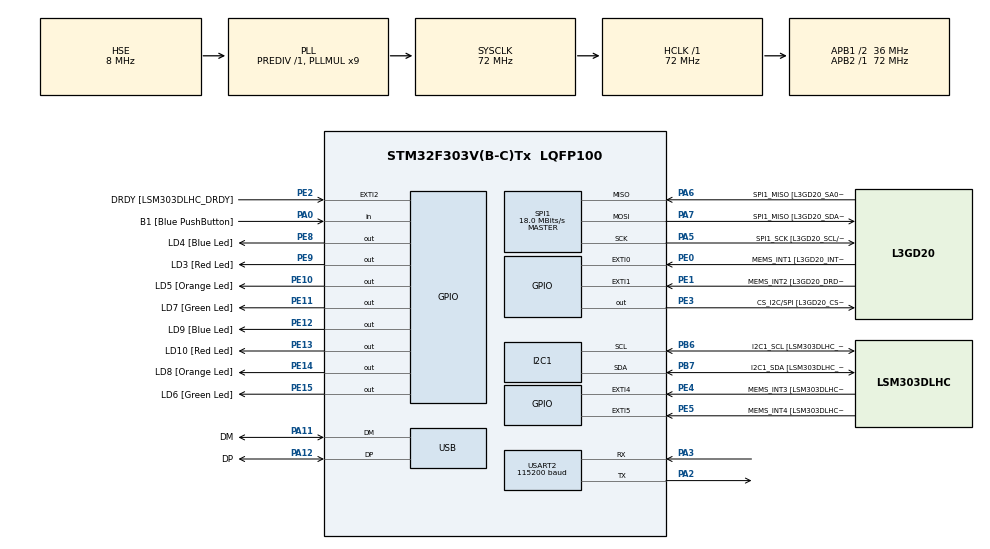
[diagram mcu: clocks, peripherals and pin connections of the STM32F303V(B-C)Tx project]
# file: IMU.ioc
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I2C1.Timing=0x00201D2B
I2C1.Timing-I2C=0x2000090E
Mcu.Family=STM32F3
Mcu.Name=STM32F303V(B-C)Tx
Mcu.Package=LQFP100
NVIC.PriorityGroup=NVIC_PRIORITYGROUP_0
NVIC.TIM1_UP_TIM16_IRQn=true\:0\:0\:false\:false\:true\:true\:true\:true
NVIC.USART2_IRQn=true\:0\:0\:false\:false\:true\:true\:true\:true
PA0.GPIO_Label=B1 [Blue PushButton]
PA0.Signal=GPIO_Input
PA11.GPIO_Label=DM
PA11.Mode=Device
PA11.Signal=USB_DM
PA12.GPIO_Label=DP
PA12.Mode=Device
PA12.Signal=USB_DP
PA13.GPIO_Label=SWDIO
PA13.Mode=Serial_Wire
PA13.Signal=SYS_JTMS-SWDIO
PA14.GPIO_Label=SWCLK
PA14.Mode=Serial_Wire
PA14.Signal=SYS_JTCK-SWCLK
PA2.Mode=Asynchronous
PA2.Signal=USART2_TX
PA3.Mode=Asynchronous
PA3.Signal=USART2_RX
PA5.GPIO_Label=SPI1_SCK [L3GD20_SCL/SPC]
PA5.Mode=Full_Duplex_Master
PA5.Signal=SPI1_SCK
PA6.GPIO_Label=SPI1_MISO [L3GD20_SA0/SDO]
PA6.Mode=Full_Duplex_Master
PA6.Signal=SPI1_MISO
PA7.GPIO_Label=SPI1_MISO [L3GD20_SDA/SDI/SDO]
PA7.Mode=Full_Duplex_Master
PA7.Signal=SPI1_MOSI
PB3.GPIO_Label=SWO
PB3.Signal=SYS_JTDO-TRACESWO
PB6.GPIO_Label=I2C1_SCL [LSM303DLHC_SCL]
PB6.GPIO_Pu=GPIO_PULLUP
PB6.Mode=I2C
PB6.Signal=I2C1_SCL
PB7.GPIO_Label=I2C1_SDA [LSM303DLHC_SDA]
PB7.GPIO_Pu=GPIO_PULLUP
PB7.Mode=I2C
PB7.Signal=I2C1_SDA
PC14-OSC32_IN.GPIO_Label=OSC32_IN
PC14-OSC32_IN.Signal=RCC_OSC32_IN
PC15-OSC32_OUT.GPIO_Label=OSC32_OUT
PC15-OSC32_OUT.Signal=RCC_OSC32_OUT
PE0.GPIO_Label=MEMS_INT1 [L3GD20_INT1]
PE0.GPIO_ModeDefaultEXTI=GPIO_MODE_EVT_RISING
PE0.Signal=GPXTI0
PE1.GPIO_Label=MEMS_INT2 [L3GD20_DRDY/INT2]
PE1.GPIO_ModeDefaultEXTI=GPIO_MODE_EVT_RISING
PE1.Signal=GPXTI1
PE10.GPIO_Label=LD5 [Orange Led]
PE10.Signal=GPIO_Output
PE11.GPIO_Label=LD7 [Green Led]
PE11.Signal=GPIO_Output
PE12.GPIO_Label=LD9 [Blue Led]
PE12.Signal=GPIO_Output
PE13.GPIO_Label=LD10 [Red Led]
PE13.Signal=GPIO_Output
PE14.GPIO_Label=LD8 [Orange Led]
PE14.Signal=GPIO_Output
PE15.GPIO_Label=LD6 [Green Led]
PE15.Signal=GPIO_Output
PE2.GPIO_Label=DRDY [LSM303DLHC_DRDY]
PE2.GPIO_ModeDefaultEXTI=GPIO_MODE_EVT_RISING
PE2.Signal=GPXTI2
PE3.GPIO_Label=CS_I2C/SPI [L3GD20_CS_I2C/SPI]
PE3.Signal=GPIO_Output
PE4.GPIO_Label=MEMS_INT3 [LSM303DLHC_INT1]
PE4.GPIO_ModeDefaultEXTI=GPIO_MODE_EVT_RISING
PE4.Signal=GPXTI4
PE5.GPIO_Label=MEMS_INT4 [LSM303DLHC_INT2]
PE5.GPIO_ModeDefaultEXTI=GPIO_MODE_EVT_RISING
PE5.Signal=GPXTI5
PE8.GPIO_Label=LD4 [Blue Led]
PE8.Signal=GPIO_Output
PE9.GPIO_Label=LD3 [Red Led]
PE9.Signal=GPIO_Output
PF0-OSC_IN.GPIO_Label=OSC_IN
PF0-OSC_IN.Mode=HSE-External-Clock-Source
PF0-OSC_IN.Signal=RCC_OSC_IN
PF1-OSC_OUT.GPIO_Label=OSC_OUT
PF1-OSC_OUT.Signal=RCC_OSC_OUT
ProjectManager.HeapSize=0x200
ProjectManager.StackSize=0x400
ProjectManager.TargetToolchain=STM32CubeIDE
RCC.AHBFreq_Value=72000000
RCC.APB1CLKDivider=RCC_HCLK_DIV2
RCC.APB1Freq_Value=36000000
RCC.APB1TimFreq_Value=72000000
RCC.APB2Freq_Value=72000000
RCC.APB2TimFreq_Value=72000000
RCC.CortexFreq_Value=72000000
RCC.HCLKFreq_Value=72000000
RCC.HSE_VALUE=8000000
RCC.HSI_VALUE=8000000
RCC.LSE_VALUE=32768
RCC.PLLMUL=RCC_PLL_MUL9
RCC.PRESCALERUSB=RCC_USBCLKSOURCE_PLL_DIV1_5
RCC.SYSCLKFreq_VALUE=72000000
RCC.SYSCLKSourceVirtual=RCC_SYSCLKSOURCE_PLLCLK
RCC.USBFreq_Value=48000000
SPI1.BaudRatePrescaler=SPI_BAUDRATEPRESCALER_4
SPI1.BaudRatePrescaler-Full_Duplex_Master=SPI_BAUDRATEPRESCALER_2
SPI1.CalculateBaudRate=18.0 MBits/s
SPI1.CalculateBaudRate-Full_Duplex_Master=24.0 MBits/s
SPI1.Direction=SPI_DIRECTION_2LINES
SPI1.Mode=SPI_MODE_MASTER
SPI1.Mode-Full_Duplex_Master=SPI_MODE_MASTER
SPI1.VirtualType=VM_MASTER
TIM1.Period=100
TIM1.Prescaler=719
USART2.BaudRate=115200
USART2.VirtualMode-Asynchronous=VM_ASYNC
VP_TIM1_VS_ClockSourceINT.Mode=Internal
board=STM32F3DISCOVERY

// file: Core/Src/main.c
/* USER CODE BEGIN Header */
/**
  ******************************************************************************
  * @file           : main.c
  * @brief          : Main program body
  ******************************************************************************
  * @attention
  *
  * Copyright (c) 2025 STMicroelectronics.
  * All rights reserved.
  *
  * This software is licensed under terms that can be found in the LICENSE file
  * in the root directory of this software component.
  * If no LICENSE file comes with this software, it is provided AS-IS.
  *
  ******************************************************************************
  */
/* USER CODE END Header */
#include "main.h"
#include "i2c.h"
#include "spi.h"
#include "tim.h"
#include "usart.h"
#include "usb.h"
#include "gpio.h"

/* USER CODE BEGIN Includes */
#include <time.h>

#include "uart_utils.h"
#include "time_utils.h"
#include "accel.h"
#include "gyro.h"
#include "magdrv.h"
#include "madgwick.h"

/* USER CODE END Includes */

void SystemClock_Config(void);

int main(void)
{

  /* MCU Configuration--------------------------------------------------------*/

  /* Reset of all peripherals, Initializes the Flash interface and the Systick. */
  HAL_Init();

  /* USER CODE BEGIN Init */
#if DEBUG
    RCC->CFGR =0;
#endif
  /* USER CODE END Init */

  /* Configure the system clock */
  SystemClock_Config();

  /* Initialize all configured peripherals */
  MX_GPIO_Init();
  MX_I2C1_Init();
  MX_SPI1_Init();
  MX_USB_PCD_Init();
  MX_USART2_UART_Init();
  MX_TIM1_Init();
  /* USER CODE BEGIN 2 */
  IMUStamped data;
  data.sync = 0xFE;
  clear_RPY(&data.rpy);
  start_time();

  if (init_accel() != HAL_OK ||
      init_gyro() != HAL_OK ||
      init_mag() != HAL_OK){
      Error_Handler();
  }
  stamp_IMUData(&data);
  /* USER CODE END 2 */

  /* Infinite loop */
  /* USER CODE BEGIN WHILE */
  while (1)
  {
      read_accel_data(&(data.imu));
      read_gyro_data(&(data.imu));
      update_mag(&(data.imu));
      madgwick_filter_update(&data);
#ifdef TEST
      send_RPY(&data.rpy, &huart2);
#else // TEST
      send_IMUStamped(&data, &huart2);
#endif // TEST
      stamp_IMUData(&data);
    /* USER CODE END WHILE */

  }
}

void SystemClock_Config(void)
{
  RCC_OscInitTypeDef RCC_OscInitStruct = {0};
  RCC_ClkInitTypeDef RCC_ClkInitStruct = {0};
  RCC_PeriphCLKInitTypeDef PeriphClkInit = {0};

  /** Initializes the RCC Oscillators according to the specified parameters
  * in the RCC_OscInitTypeDef structure.
  */
  RCC_OscInitStruct.OscillatorType = RCC_OSCILLATORTYPE_HSI|RCC_OSCILLATORTYPE_HSE;
  RCC_OscInitStruct.HSEState = RCC_HSE_BYPASS;
  RCC_OscInitStruct.HSEPredivValue = RCC_HSE_PREDIV_DIV1;
  RCC_OscInitStruct.HSIState = RCC_HSI_ON;
  RCC_OscInitStruct.HSICalibrationValue = RCC_HSICALIBRATION_DEFAULT;
  RCC_OscInitStruct.PLL.PLLState = RCC_PLL_ON;
  RCC_OscInitStruct.PLL.PLLSource = RCC_PLLSOURCE_HSE;
  RCC_OscInitStruct.PLL.PLLMUL = RCC_PLL_MUL9;
  if (HAL_RCC_OscConfig(&RCC_OscInitStruct) != HAL_OK)
  {
    Error_Handler();
  }

  /** Initializes the CPU, AHB and APB buses clocks
  */
  RCC_ClkInitStruct.ClockType = RCC_CLOCKTYPE_HCLK|RCC_CLOCKTYPE_SYSCLK
                              |RCC_CLOCKTYPE_PCLK1|RCC_CLOCKTYPE_PCLK2;
  RCC_ClkInitStruct.SYSCLKSource = RCC_SYSCLKSOURCE_PLLCLK;
  RCC_ClkInitStruct.AHBCLKDivider = RCC_SYSCLK_DIV1;
  RCC_ClkInitStruct.APB1CLKDivider = RCC_HCLK_DIV2;
  RCC_ClkInitStruct.APB2CLKDivider = RCC_HCLK_DIV1;

  if (HAL_RCC_ClockConfig(&RCC_ClkInitStruct, FLASH_LATENCY_2) != HAL_OK)
  {
    Error_Handler();
  }
  PeriphClkInit.PeriphClockSelection = RCC_PERIPHCLK_USB|RCC_PERIPHCLK_USART2
                              |RCC_PERIPHCLK_I2C1|RCC_PERIPHCLK_TIM1;
  PeriphClkInit.Usart2ClockSelection = RCC_USART2CLKSOURCE_PCLK1;
  PeriphClkInit.I2c1ClockSelection = RCC_I2C1CLKSOURCE_HSI;
  PeriphClkInit.USBClockSelection = RCC_USBCLKSOURCE_PLL_DIV1_5;
  PeriphClkInit.Tim1ClockSelection = RCC_TIM1CLK_HCLK;
  if (HAL_RCCEx_PeriphCLKConfig(&PeriphClkInit) != HAL_OK)
  {
    Error_Handler();
  }
}

void Error_Handler(void)
{
  __disable_irq();
  while (1)
  {
  }
}
